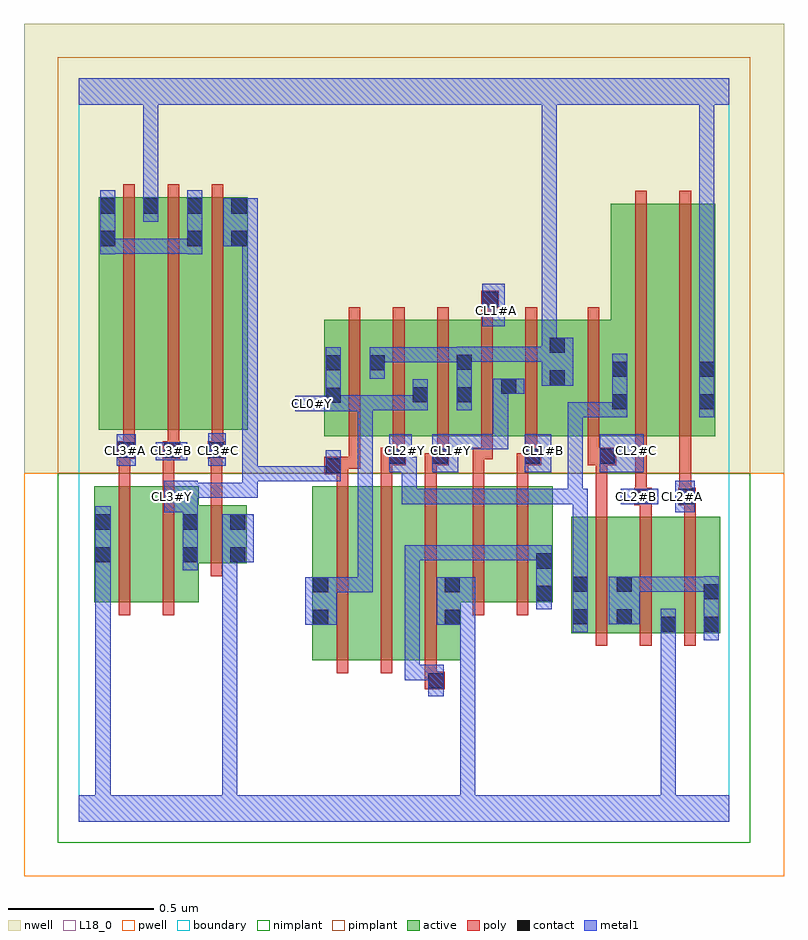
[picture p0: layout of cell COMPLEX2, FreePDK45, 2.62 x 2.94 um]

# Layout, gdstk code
import gdstk
lib = gdstk.Library(unit=1e-6, precision=1e-09)
def R(c, l, rs):  # rectangles x0, y0, x1, y1
    for r in rs: c.add(gdstk.rectangle(r[:2], r[2:], *l))
def A(c, l, x, y, w, h, nx, ny, dx, dy):  # array of equal rectangles
    R(c, l, [(x+i*dx, y+j*dy, x+i*dx+w, y+j*dy+h) for i in range(nx) for j in range(ny)])
active = (1, 0)
pwell = (2, 0)
nwell = (3, 0)
nimplant = (4, 0)
pimplant = (5, 0)
poly = (9, 0)
contact = (10, 0)
metal1 = (11, 0)
L18_0 = (18, 0)
boundary = (235, 0)

complex2 = lib.new_cell('COMPLEX2')
R(complex2, active, [(0.804,0.556,0.984,1.156), (0.804,0.556,0.864,1.156), (0.984,0.556,1.136,1.156), (1.136,0.556,1.316,1.156), (1.256,0.556,1.316,0.888), (1.696,0.65,1.756,1.05), (1.696,0.65,1.908,1.05), (1.848,0.65,2.06,1.05), (1.848,0.65,1.908,0.848), (2,0.65,2.208,1.05), (2,0.65,2.06,0.828), (2.148,0.65,2.208,1.05), (0.054,0.756,0.114,1.156), (0.054,0.756,0.234,1.156), (0.234,0.756,0.414,1.156), (0.354,0.756,0.414,1.09), (1.256,0.756,1.452,1.156), (1.452,0.756,1.632,1.156), (1.572,0.756,1.632,1.156), (0.354,0.89,0.578,1.09), (0.518,0.89,0.578,1.09), (0.846,1.328,1.058,1.728), (0.846,1.328,0.906,1.644), (0.998,1.328,1.206,1.728), (1.146,1.328,1.358,1.728), (1.298,1.328,1.51,1.728), (1.45,1.328,1.678,1.728), (1.618,1.328,1.678,1.728), (1.618,1.328,1.892,1.728), (1.832,1.328,2.012,2.128), (2.012,1.328,2.192,2.128), (2.132,1.328,2.192,2.044), (0.07,1.35,0.13,2.15), (0.07,1.35,0.278,2.15), (0.218,1.35,0.43,2.15), (0.37,1.35,0.43,2.15), (0.37,1.35,0.582,2.15), (0.522,1.35,0.582,2.15), (1.832,1.416,1.892,1.644), (1.146,1.44,1.206,1.644), (1.298,1.44,1.358,1.644), (1.45,1.47,1.51,1.644), (0.218,1.472,0.278,2.15), (0.998,1.55,1.058,1.644)])
R(complex2, pwell, [(-0.188,-0.188,2.428,1.2)])
R(complex2, nwell, [(-0.188,1.2,2.428,2.748)])
R(complex2, nimplant, [(-0.072,-0.072,2.312,1.2)])
R(complex2, pimplant, [(-0.072,1.2,2.312,2.632)])
A(complex2, poly, 0.888, 0.512, 0.04, 0.688, 3, 1, 0.152, 0)
A(complex2, poly, 1.78, 0.606, 0.04, 0.488, 3, 1, 0.152, 0)
A(complex2, poly, 1.082, 1.248, 0.04, 0.076, 4, 1, 0.152, 0)
A(complex2, poly, 0.154, 1.27, 0.04, 0.076, 3, 1, 0.152, 0)
A(complex2, poly, 0.93, 1.284, 0.04, 0.488, 5, 1, 0.152, 0)
A(complex2, poly, 0.154, 1.306, 0.04, 0.888, 3, 1, 0.152, 0)
R(complex2, poly, [(1.192,0.456,1.26,0.516), (1.192,0.476,1.232,0.552), (0.138,0.712,0.178,1.2), (0.29,0.712,0.33,1.2), (1.356,0.712,1.396,1.2), (1.508,0.712,1.548,1.2), (0.454,0.846,0.494,1.134), (1.78,1.054,1.82,1.268), (1.932,1.054,1.972,1.13), (2.084,1.054,2.124,1.13), (1.912,1.09,1.972,1.15), (2.064,1.09,2.124,1.15), (0.454,1.094,0.494,1.29), (1.916,1.11,1.956,1.324), (1.916,1.11,1.956,1.15), (1.916,1.11,1.956,1.15), (2.068,1.11,2.108,1.324), (2.068,1.11,2.108,1.15), (2.068,1.11,2.108,1.15), (0.138,1.16,0.178,1.29), (0.29,1.16,0.33,1.29), (0.888,1.16,0.928,1.236), (1.04,1.16,1.08,1.268), (1.192,1.16,1.232,1.268), (1.356,1.16,1.396,1.288), (1.508,1.16,1.548,1.268), (0.846,1.196,0.928,1.256), (0.888,1.216,0.928,1.256), (0.888,1.216,0.97,1.256), (0.93,1.216,0.97,1.324), (1.04,1.228,1.126,1.288), (1.192,1.228,1.254,1.268), (1.214,1.228,1.254,1.268), (1.214,1.228,1.274,1.288), (1.508,1.228,1.572,1.268), (1.532,1.228,1.572,1.268), (1.532,1.228,1.592,1.288), (1.752,1.228,1.85,1.288), (1.78,1.228,1.82,1.268), (1.78,1.228,1.82,1.268), (1.082,1.248,1.122,1.288), (1.082,1.248,1.122,1.288), (1.356,1.248,1.41,1.288), (1.37,1.248,1.41,1.288), (1.37,1.248,1.426,1.288), (1.752,1.248,1.792,1.324), (0.134,1.25,0.194,1.31), (0.138,1.25,0.178,1.29), (0.138,1.25,0.178,1.29), (0.29,1.25,0.33,1.29), (0.29,1.25,0.33,1.29), (0.29,1.25,0.35,1.31), (0.444,1.25,0.504,1.31), (0.454,1.25,0.494,1.29), (0.454,1.25,0.494,1.29), (1.752,1.284,1.792,1.772), (1.916,1.284,1.956,2.172), (2.068,1.284,2.108,2.172), (1.386,1.732,1.426,1.808), (1.386,1.768,1.446,1.828)])
A(complex2, contact, 0.222, 2.094, 0.052, 0.052, 3, 1, 0.152, 0)
R(complex2, contact, [(1.204,0.46,1.256,0.512), (2.004,0.654,2.056,0.706), (2.152,0.654,2.204,0.706), (0.808,0.678,0.86,0.73), (1.26,0.678,1.312,0.73), (1.7,0.68,1.752,0.732), (1.852,0.68,1.904,0.732), (1.576,0.76,1.628,0.812), (2.152,0.766,2.204,0.818), (0.808,0.79,0.86,0.842), (1.26,0.79,1.312,0.842), (1.7,0.792,1.752,0.844), (1.852,0.792,1.904,0.844), (1.576,0.872,1.628,0.924), (0.058,0.894,0.11,0.946), (0.358,0.894,0.41,0.946), (0.522,0.894,0.574,0.946), (0.058,1.006,0.11,1.058), (0.358,1.006,0.41,1.058), (0.522,1.006,0.574,1.058), (1.916,1.094,1.968,1.146), (2.068,1.094,2.12,1.146), (0.85,1.2,0.902,1.252), (1.07,1.232,1.122,1.284), (1.218,1.232,1.27,1.284), (1.536,1.232,1.588,1.284), (1.794,1.232,1.846,1.284), (0.138,1.254,0.19,1.306), (0.294,1.254,0.346,1.306), (0.448,1.254,0.5,1.306), (1.836,1.42,1.888,1.472), (2.136,1.42,2.188,1.472), (0.85,1.442,0.902,1.494), (1.15,1.444,1.202,1.496), (1.302,1.444,1.354,1.496), (1.454,1.474,1.506,1.526), (1.622,1.502,1.674,1.554), (1.836,1.532,1.888,1.584), (2.136,1.532,2.188,1.584), (0.85,1.554,0.902,1.606), (1.002,1.554,1.054,1.606), (1.302,1.556,1.354,1.608), (1.622,1.614,1.674,1.666), (1.39,1.772,1.442,1.824), (0.074,1.982,0.126,2.034), (0.374,1.982,0.426,2.034), (0.526,1.982,0.578,2.034), (0.074,2.094,0.126,2.146)])
R(complex2, metal1, [(0,0,2.24,0.092), (0.058,0.04,0.11,0.808), (0.494,0.04,0.546,0.092), (0.494,0.04,0.546,0.092), (0.494,0.04,0.546,0.092), (0.494,0.04,0.546,0.092), (0.494,0.04,0.546,0.946), (1.314,0.04,1.366,0.092), (1.314,0.04,1.366,0.092), (1.314,0.04,1.366,0.092), (1.314,0.04,1.366,0.092), (1.314,0.04,1.366,0.092), (1.314,0.04,1.366,0.092), (1.314,0.04,1.366,0.542), (2.004,0.04,2.056,0.568), (1.204,0.432,1.256,0.54), (1.122,0.488,1.174,0.54), (1.122,0.488,1.174,0.54), (1.122,0.488,1.174,0.54), (1.122,0.488,1.256,0.54), (1.122,0.488,1.174,0.84), (1.314,0.49,1.366,0.542), (1.314,0.49,1.366,0.73), (2.004,0.516,2.056,0.568), (2.004,0.516,2.056,0.568), (2.004,0.516,2.056,0.568), (2.004,0.516,2.056,0.568), (2.004,0.516,2.056,0.568), (2.004,0.516,2.056,0.568), (2.004,0.516,2.056,0.568), (2.004,0.516,2.056,0.568), (2.004,0.516,2.056,0.568), (2.004,0.516,2.056,0.568), (2.004,0.516,2.056,0.568), (2.004,0.516,2.056,0.678), (2.004,0.626,2.056,0.734), (2.152,0.626,2.204,0.846), (1.7,0.652,1.752,0.872), (0.78,0.678,0.888,0.842), (1.232,0.678,1.366,0.842), (1.824,0.68,1.932,0.844), (1.576,0.732,1.628,0.952), (0.058,0.756,0.11,0.808), (0.058,0.756,0.11,0.808), (0.058,0.756,0.11,0.808), (0.058,0.756,0.11,0.808), (0.058,0.756,0.11,0.808), (0.058,0.756,0.11,0.808), (0.058,0.756,0.11,0.808), (0.058,0.756,0.11,0.808), (0.058,0.756,0.11,0.808), (0.058,0.756,0.11,0.808), (0.058,0.756,0.11,0.808), (0.058,0.756,0.11,0.918), (1.122,0.788,1.174,0.84), (1.122,0.788,1.174,0.84), (1.122,0.788,1.174,0.84), (1.122,0.788,1.174,0.84), (1.122,0.788,1.174,0.84), (1.122,0.788,1.174,0.842), (0.836,0.79,0.902,0.842), (0.85,0.79,0.902,0.842), (0.85,0.79,1.012,0.842), (0.96,0.79,1.012,0.842), (0.96,0.79,1.012,1.466), (1.122,0.79,1.174,0.842), (1.122,0.79,1.174,0.952), (1.88,0.792,1.932,0.844), (1.88,0.792,1.932,0.844), (1.88,0.792,2.078,0.844), (2.026,0.792,2.078,0.844), (2.026,0.792,2.204,0.844), (2.152,0.792,2.204,0.844), (2.152,0.792,2.204,0.844), (1.7,0.82,1.752,1.146), (0.058,0.866,0.11,1.086), (0.358,0.866,0.41,1.086), (0.494,0.894,0.546,0.946), (0.494,0.894,0.546,0.946), (0.494,0.894,0.546,0.946), (0.494,0.894,0.546,0.946), (0.494,0.894,0.546,0.946), (0.494,0.894,0.546,0.946), (0.494,0.894,0.546,0.946), (0.494,0.894,0.546,0.946), (0.494,0.894,0.546,0.946), (0.494,0.894,0.546,0.946), (0.494,0.894,0.546,0.946), (0.494,0.894,0.546,0.946), (0.494,0.894,0.602,1.058), (1.122,0.9,1.174,0.952), (1.122,0.9,1.332,0.952), (1.28,0.9,1.332,0.952), (1.28,0.9,1.332,0.952), (1.28,0.9,1.332,0.952), (1.28,0.9,1.464,0.952), (1.412,0.9,1.464,0.952), (1.412,0.9,1.464,0.952), (1.412,0.9,1.464,0.952), (1.412,0.9,1.626,0.952), (1.574,0.9,1.626,0.952), (1.574,0.9,1.628,0.952), (0.358,1.034,0.41,1.118), (0.294,1.066,0.41,1.174), (2.054,1.066,2.12,1.174), (1.112,1.094,1.164,1.256), (1.112,1.094,1.332,1.146), (1.28,1.094,1.332,1.146), (1.28,1.094,1.332,1.146), (1.28,1.094,1.332,1.146), (1.28,1.094,1.478,1.146), (1.426,1.094,1.478,1.146), (1.426,1.094,1.478,1.146), (1.426,1.094,1.478,1.146), (1.426,1.094,1.588,1.146), (1.536,1.094,1.588,1.146), (1.536,1.094,1.588,1.146), (1.536,1.094,1.588,1.146), (1.536,1.094,1.736,1.146), (1.684,1.094,1.736,1.146), (1.684,1.094,1.736,1.146), (1.684,1.094,1.736,1.444), (1.684,1.094,1.752,1.146), (1.866,1.094,1.996,1.146), (0.358,1.116,0.616,1.168), (0.564,1.116,0.616,1.168), (0.564,1.116,0.616,1.168), (0.564,1.116,0.616,1.224), (0.564,1.172,0.616,1.224), (0.564,1.172,0.616,1.224), (0.564,1.172,0.902,1.224), (0.564,1.172,0.616,2.034), (0.85,1.172,0.902,1.224), (0.85,1.172,0.902,1.224), (0.85,1.172,0.902,1.28), (1.07,1.204,1.146,1.334), (1.094,1.204,1.164,1.256), (1.218,1.204,1.306,1.334), (1.536,1.204,1.626,1.334), (1.794,1.204,1.946,1.334), (0.132,1.226,0.196,1.334), (0.446,1.226,0.506,1.338), (0.266,1.244,0.374,1.306), (1.254,1.282,1.306,1.334), (1.254,1.282,1.306,1.334), (1.254,1.282,1.478,1.334), (1.426,1.282,1.478,1.334), (1.426,1.282,1.478,1.334), (1.426,1.282,1.478,1.334), (1.426,1.282,1.478,1.526), (1.684,1.392,1.738,1.444), (1.686,1.392,1.738,1.444), (1.686,1.392,1.738,1.444), (1.686,1.392,1.888,1.444), (1.836,1.392,1.888,1.612), (2.136,1.392,2.188,1.612), (0.746,1.414,0.902,1.466), (0.85,1.414,0.902,1.466), (0.85,1.414,0.902,1.466), (0.85,1.414,0.902,1.466), (0.85,1.414,0.902,1.634), (0.85,1.414,1.012,1.466), (0.96,1.414,1.012,1.466), (0.96,1.414,1.012,1.466), (0.96,1.414,1.012,1.466), (0.85,1.416,0.902,1.468), (0.85,1.416,0.902,1.468), (0.85,1.416,1.012,1.468), (0.96,1.416,1.012,1.468), (0.96,1.416,1.012,1.468), (0.96,1.416,1.012,1.468), (0.96,1.416,1.202,1.468), (1.15,1.416,1.202,1.524), (1.302,1.416,1.354,1.636), (1.426,1.474,1.534,1.526), (1.594,1.502,1.702,1.666), (1.002,1.526,1.054,1.634), (2.136,1.56,2.188,2.52), (1.002,1.582,1.054,1.634), (1.002,1.582,1.054,1.634), (1.002,1.582,1.164,1.634), (1.112,1.582,1.164,1.634), (1.112,1.582,1.256,1.634), (1.204,1.582,1.256,1.634), (1.204,1.582,1.354,1.634), (1.302,1.584,1.478,1.636), (1.426,1.584,1.478,1.636), (1.426,1.584,1.478,1.636), (1.426,1.584,1.478,1.636), (1.426,1.584,1.626,1.636), (1.574,1.584,1.626,1.636), (1.574,1.584,1.646,1.636), (1.594,1.614,1.646,2.52), (1.39,1.706,1.466,1.852), (0.074,1.954,0.126,2.174), (0.374,1.954,0.426,2.174), (0.074,1.956,0.208,2.008), (0.156,1.956,0.208,2.008), (0.156,1.956,0.236,2.008), (0.184,1.956,0.236,2.008), (0.184,1.956,0.388,2.008), (0.336,1.956,0.388,2.008), (0.336,1.956,0.426,2.008), (0.498,1.982,0.616,2.146), (0.222,2.066,0.274,2.174), (0.222,2.122,0.274,2.52), (0,2.468,2.24,2.56), (0.222,2.468,0.274,2.52), (0.222,2.468,0.274,2.52), (0.222,2.468,0.274,2.52), (0.222,2.468,0.274,2.52), (0.222,2.468,0.274,2.52), (0.222,2.468,0.274,2.52), (0.222,2.468,0.274,2.52), (0.222,2.468,0.274,2.52), (1.594,2.468,1.646,2.52), (1.594,2.468,1.646,2.52), (1.594,2.468,1.646,2.52), (1.594,2.468,1.646,2.52), (1.594,2.468,1.646,2.52), (1.594,2.468,1.646,2.52), (1.594,2.468,1.646,2.52), (1.594,2.468,1.646,2.52), (1.594,2.468,1.646,2.52), (1.594,2.468,1.646,2.52), (1.594,2.468,1.646,2.52), (1.594,2.468,1.646,2.52), (1.594,2.468,1.646,2.52), (1.594,2.468,1.646,2.52), (1.594,2.468,1.646,2.52), (1.594,2.468,1.646,2.52), (2.136,2.468,2.188,2.52), (2.136,2.468,2.188,2.52), (2.136,2.468,2.188,2.52), (2.136,2.468,2.188,2.52), (2.136,2.468,2.188,2.52), (2.136,2.468,2.188,2.52), (2.136,2.468,2.188,2.52), (2.136,2.468,2.188,2.52)])
A(complex2, L18_0, 0.134, 1.254, 0.052, 0.052, 3, 1, 0.16, 0)
A(complex2, L18_0, 1.254, 1.254, 0.052, 0.052, 3, 1, 0.32, 0)
R(complex2, L18_0, [(0,0,2.24,0.092), (0.058,0.04,0.11,0.808), (0.494,0.04,0.546,0.092), (0.494,0.04,0.546,0.092), (0.494,0.04,0.546,0.092), (0.494,0.04,0.546,0.092), (0.494,0.04,0.546,0.946), (1.314,0.04,1.366,0.092), (1.314,0.04,1.366,0.092), (1.314,0.04,1.366,0.092), (1.314,0.04,1.366,0.092), (1.314,0.04,1.366,0.092), (1.314,0.04,1.366,0.092), (1.314,0.04,1.366,0.542), (2.004,0.04,2.056,0.568), (1.204,0.432,1.256,0.54), (1.122,0.488,1.174,0.54), (1.122,0.488,1.174,0.54), (1.122,0.488,1.174,0.54), (1.122,0.488,1.174,0.84), (1.122,0.488,1.256,0.54), (1.314,0.49,1.366,0.542), (1.314,0.49,1.366,0.73), (2.004,0.516,2.056,0.568), (2.004,0.516,2.056,0.568), (2.004,0.516,2.056,0.568), (2.004,0.516,2.056,0.568), (2.004,0.516,2.056,0.568), (2.004,0.516,2.056,0.568), (2.004,0.516,2.056,0.568), (2.004,0.516,2.056,0.568), (2.004,0.516,2.056,0.568), (2.004,0.516,2.056,0.568), (2.004,0.516,2.056,0.568), (2.004,0.516,2.056,0.678), (2.004,0.626,2.056,0.734), (1.7,0.652,1.752,0.872), (0.78,0.678,0.888,0.842), (1.232,0.678,1.366,0.842), (1.576,0.732,1.628,0.952), (0.058,0.756,0.11,0.808), (0.058,0.756,0.11,0.808), (0.058,0.756,0.11,0.808), (0.058,0.756,0.11,0.808), (0.058,0.756,0.11,0.808), (0.058,0.756,0.11,0.808), (0.058,0.756,0.11,0.808), (0.058,0.756,0.11,0.808), (0.058,0.756,0.11,0.808), (0.058,0.756,0.11,0.808), (0.058,0.756,0.11,0.808), (0.058,0.756,0.11,0.918), (1.122,0.788,1.174,0.84), (1.122,0.788,1.174,0.84), (1.122,0.788,1.174,0.84), (1.122,0.788,1.174,0.84), (1.122,0.788,1.174,0.84), (1.122,0.788,1.174,0.842), (0.836,0.79,0.902,0.842), (0.85,0.79,0.902,0.842), (0.85,0.79,1.012,0.842), (0.96,0.79,1.012,0.842), (0.96,0.79,1.012,1.466), (1.122,0.79,1.174,0.842), (1.122,0.79,1.174,0.952), (1.7,0.82,1.752,1.146), (0.058,0.866,0.11,1.086), (0.358,0.866,0.41,1.086), (0.494,0.894,0.546,0.946), (0.494,0.894,0.546,0.946), (0.494,0.894,0.546,0.946), (0.494,0.894,0.546,0.946), (0.494,0.894,0.546,0.946), (0.494,0.894,0.546,0.946), (0.494,0.894,0.546,0.946), (0.494,0.894,0.546,0.946), (0.494,0.894,0.546,0.946), (0.494,0.894,0.546,0.946), (0.494,0.894,0.546,0.946), (0.494,0.894,0.546,0.946), (0.494,0.894,0.602,1.058), (1.122,0.9,1.174,0.952), (1.122,0.9,1.332,0.952), (1.28,0.9,1.332,0.952), (1.28,0.9,1.332,0.952), (1.28,0.9,1.332,0.952), (1.28,0.9,1.464,0.952), (1.412,0.9,1.464,0.952), (1.412,0.9,1.464,0.952), (1.412,0.9,1.464,0.952), (1.412,0.9,1.626,0.952), (1.574,0.9,1.626,0.952), (1.574,0.9,1.628,0.952), (0.358,1.034,0.41,1.118), (0.294,1.066,0.41,1.174), (2.054,1.066,2.12,1.174), (0.294,1.094,0.346,1.146), (1.112,1.094,1.164,1.256), (1.112,1.094,1.332,1.146), (1.28,1.094,1.332,1.146), (1.28,1.094,1.332,1.146), (1.28,1.094,1.332,1.146), (1.28,1.094,1.478,1.146), (1.426,1.094,1.478,1.146), (1.426,1.094,1.478,1.146), (1.426,1.094,1.478,1.146), (1.426,1.094,1.588,1.146), (1.536,1.094,1.588,1.146), (1.536,1.094,1.588,1.146), (1.536,1.094,1.588,1.146), (1.536,1.094,1.736,1.146), (1.684,1.094,1.736,1.146), (1.684,1.094,1.736,1.146), (1.684,1.094,1.752,1.146), (1.684,1.094,1.736,1.444), (1.866,1.094,1.996,1.146), (1.894,1.094,1.946,1.146), (2.054,1.094,2.106,1.146), (0.358,1.116,0.616,1.168), (0.564,1.116,0.616,1.168), (0.564,1.116,0.616,1.168), (0.564,1.116,0.616,1.224), (0.564,1.172,0.616,1.224), (0.564,1.172,0.616,1.224), (0.564,1.172,0.616,2.034), (0.564,1.172,0.902,1.224), (0.85,1.172,0.902,1.224), (0.85,1.172,0.902,1.224), (0.85,1.172,0.902,1.28), (1.07,1.204,1.146,1.334), (1.094,1.204,1.164,1.256), (1.218,1.204,1.306,1.334), (1.536,1.204,1.626,1.334), (1.794,1.204,1.946,1.334), (0.132,1.226,0.196,1.334), (0.446,1.226,0.506,1.338), (0.266,1.244,0.374,1.306), (1.094,1.254,1.146,1.306), (1.254,1.282,1.306,1.334), (1.254,1.282,1.306,1.334), (1.254,1.282,1.478,1.334), (1.426,1.282,1.478,1.334), (1.426,1.282,1.478,1.334), (1.426,1.282,1.478,1.334), (1.426,1.282,1.478,1.526), (1.684,1.392,1.738,1.444), (1.686,1.392,1.738,1.444), (1.686,1.392,1.738,1.444), (1.686,1.392,1.888,1.444), (1.836,1.392,1.888,1.612), (2.136,1.392,2.188,1.612), (0.746,1.414,0.902,1.466), (0.774,1.414,0.826,1.466), (0.85,1.414,0.902,1.466), (0.85,1.414,0.902,1.466), (0.85,1.414,0.902,1.466), (0.85,1.414,0.902,1.634), (0.85,1.414,1.012,1.466), (0.96,1.414,1.012,1.466), (0.96,1.414,1.012,1.466), (0.96,1.414,1.012,1.466), (0.85,1.416,0.902,1.468), (0.85,1.416,0.902,1.468), (0.85,1.416,1.012,1.468), (0.96,1.416,1.012,1.468), (0.96,1.416,1.012,1.468), (0.96,1.416,1.012,1.468), (0.96,1.416,1.202,1.468), (1.15,1.416,1.202,1.524), (1.302,1.416,1.354,1.636), (1.426,1.474,1.534,1.526), (1.594,1.502,1.702,1.666), (1.002,1.526,1.054,1.634), (2.136,1.56,2.188,2.52), (1.002,1.582,1.054,1.634), (1.002,1.582,1.054,1.634), (1.002,1.582,1.164,1.634), (1.112,1.582,1.164,1.634), (1.112,1.582,1.256,1.634), (1.204,1.582,1.256,1.634), (1.204,1.582,1.354,1.634), (1.302,1.584,1.478,1.636), (1.426,1.584,1.478,1.636), (1.426,1.584,1.478,1.636), (1.426,1.584,1.478,1.636), (1.426,1.584,1.626,1.636), (1.574,1.584,1.626,1.636), (1.574,1.584,1.646,1.636), (1.594,1.614,1.646,2.52), (1.39,1.706,1.466,1.852), (1.414,1.734,1.466,1.786), (0.498,1.982,0.616,2.146), (0.222,2.066,0.274,2.174), (0.222,2.122,0.274,2.52), (0,2.468,2.24,2.56), (0.222,2.468,0.274,2.52), (0.222,2.468,0.274,2.52), (0.222,2.468,0.274,2.52), (0.222,2.468,0.274,2.52), (0.222,2.468,0.274,2.52), (0.222,2.468,0.274,2.52), (0.222,2.468,0.274,2.52), (0.222,2.468,0.274,2.52), (1.594,2.468,1.646,2.52), (1.594,2.468,1.646,2.52), (1.594,2.468,1.646,2.52), (1.594,2.468,1.646,2.52), (1.594,2.468,1.646,2.52), (1.594,2.468,1.646,2.52), (1.594,2.468,1.646,2.52), (1.594,2.468,1.646,2.52), (1.594,2.468,1.646,2.52), (1.594,2.468,1.646,2.52), (1.594,2.468,1.646,2.52), (1.594,2.468,1.646,2.52), (1.594,2.468,1.646,2.52), (1.594,2.468,1.646,2.52), (1.594,2.468,1.646,2.52), (1.594,2.468,1.646,2.52), (2.136,2.468,2.188,2.52), (2.136,2.468,2.188,2.52), (2.136,2.468,2.188,2.52), (2.136,2.468,2.188,2.52), (2.136,2.468,2.188,2.52), (2.136,2.468,2.188,2.52), (2.136,2.468,2.188,2.52), (2.136,2.468,2.188,2.52)])
R(complex2, boundary, [(0,0,2.24,2.56)])
complex2.add(gdstk.Label('CL0#Y', (0.8,1.44), layer=11, texttype=0))
complex2.add(gdstk.Label('CL1#A', (1.44,1.76), layer=11, texttype=0))
complex2.add(gdstk.Label('CL1#B', (1.6,1.28), layer=11, texttype=0))
complex2.add(gdstk.Label('CL1#Y', (1.28,1.28), layer=11, texttype=0))
complex2.add(gdstk.Label('CL2#A', (2.08,1.12), layer=11, texttype=0))
complex2.add(gdstk.Label('CL2#B', (1.92,1.12), layer=11, texttype=0))
complex2.add(gdstk.Label('CL2#C', (1.92,1.28), layer=11, texttype=0))
complex2.add(gdstk.Label('CL2#Y', (1.12,1.28), layer=11, texttype=0))
complex2.add(gdstk.Label('CL3#A', (0.16,1.28), layer=11, texttype=0))
complex2.add(gdstk.Label('CL3#B', (0.32,1.28), layer=11, texttype=0))
complex2.add(gdstk.Label('CL3#C', (0.48,1.28), layer=11, texttype=0))
complex2.add(gdstk.Label('CL3#Y', (0.32,1.12), layer=11, texttype=0))

lib.write_gds('COMPLEX2.gds')
